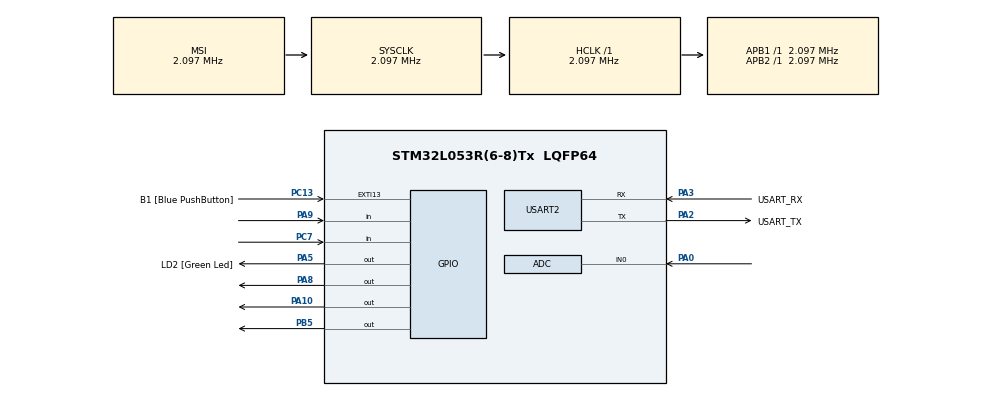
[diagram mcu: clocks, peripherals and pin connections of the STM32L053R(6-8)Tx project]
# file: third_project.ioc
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Mcu.Family=STM32L0
RCC.MSI_VALUE=2097000
PC15-OSC32_OUT.Mode=LSE-External-Oscillator
PH0-OSC_IN.Signal=RCC_OSC_IN
PC13.Signal=GPXTI13
PA14.GPIO_Label=TCK
PC13.GPIO_Label=B1 [Blue PushButton]
PC14-OSC32_IN.Signal=RCC_OSC32_IN
PA9.GPIO_PuPd=GPIO_PULLUP
ProjectManager.StackSize=0x400
PA3.Mode=Asynchronous
PA13.Signal=SYS_SWDIO
RCC.HSI16_VALUE=16000000
ProjectManager.TargetToolchain=STM32CubeIDE
RCC.APB2TimFreq_Value=2097000
PA9.Signal=GPIO_Input
PC7.Signal=GPIO_Input
PC7.GPIO_PuPd=GPIO_PULLUP
PC15-OSC32_OUT.Signal=RCC_OSC32_OUT
RCC.AHBFreq_Value=2097000
PH0-OSC_IN.Mode=HSE-External-Clock-Source
PA5.Signal=GPIO_Output
RCC.HSE_VALUE=8000000
board=NUCLEO-L053R8
USART2.VirtualMode-Asynchronous=VM_ASYNC
RCC.VCOOutputFreq_Value=48000000
RCC.APB2Freq_Value=2097000
PC14-OSC32_IN.Mode=LSE-External-Oscillator
PA14.Mode=Serial_Wire
PA0.Mode=IN0
PH1-OSC_OUT.Signal=RCC_OSC_OUT
PA8.Signal=GPIO_Output
PA13.Mode=Serial_Wire
Mcu.Name=STM32L053R(6-8)Tx
PA2.Signal=USART2_TX
PA13.GPIO_Label=TMS
PA0.Signal=ADC_IN0
RCC.SYSCLKFreq_VALUE=2097000
Mcu.Package=LQFP64
PB5.Signal=GPIO_Output
PA5.GPIO_Label=LD2 [Green Led]
PC13.GPIO_ModeDefaultEXTI=GPIO_MODE_IT_FALLING
PA2.GPIO_Label=USART_TX
PA10.Signal=GPIO_Output
PA14.Signal=SYS_SWCLK
ProjectManager.HeapSize=0x200
RCC.HSI_VALUE=16000000
RCC.APB1TimFreq_Value=2097000
PA2.Mode=Asynchronous
RCC.APB1Freq_Value=2097000
RCC.HSI48_VALUE=48000000
PA3.GPIO_Label=USART_RX
PA3.Signal=USART2_RX

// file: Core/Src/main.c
/* USER CODE BEGIN Header */
/**
  ******************************************************************************
  * @file           : main.c
  * @brief          : Main program body
  ******************************************************************************
  * @attention
  *
  * <h2><center>&copy; Copyright (c) 2021 STMicroelectronics.
  * All rights reserved.</center></h2>
  *
  * This software component is licensed by ST under BSD 3-Clause license,
  * the "License"; You may not use this file except in compliance with the
  * License. You may obtain a copy of the License at:
  *                        opensource.org/licenses/BSD-3-Clause
  *
  ******************************************************************************
  */
/* USER CODE END Header */
#include "main.h"

/* USER CODE BEGIN Includes */
#include <stdio.h>
#include <string.h>
/* USER CODE END Includes */

ADC_HandleTypeDef hadc;

UART_HandleTypeDef huart2;

void SystemClock_Config(void);
static void MX_GPIO_Init(void);
static void MX_USART2_UART_Init(void);
static void MX_ADC_Init(void);

int main(void)
{
  /* USER CODE BEGIN 1 */
	uint32_t adc_value;
	char msg[10];

  /* USER CODE END 1 */

  /* MCU Configuration--------------------------------------------------------*/

  /* Reset of all peripherals, Initializes the Flash interface and the Systick. */
  HAL_Init();

  /* Configure the system clock */
  SystemClock_Config();

  /* Initialize all configured peripherals */
  MX_GPIO_Init();
  MX_USART2_UART_Init();
  MX_ADC_Init();

  /* Infinite loop */
  /* USER CODE BEGIN WHILE */
  while (1)
  {

//	  HAL_GPIO_WritePin(GPIOA, GPIO_PIN_10, GPIO_PIN_SET);
//	  HAL_Delay (100);   /* Insert delay 1000 ms */
//	  HAL_GPIO_WritePin(GPIOA, GPIO_PIN_10, GPIO_PIN_RESET);
//	  HAL_Delay (300);   /* Insert delay 1000 ms */
//
//	  HAL_GPIO_WritePin(GPIOB, GPIO_PIN_5, GPIO_PIN_SET);
//	  HAL_Delay (100);   /* Insert delay 1000 ms */
//	  HAL_GPIO_WritePin(GPIOB, GPIO_PIN_5, GPIO_PIN_RESET);
//	  HAL_Delay (300);   /* Insert delay 1000 ms */
//
//	  HAL_GPIO_WritePin(GPIOA, GPIO_PIN_8, GPIO_PIN_SET);
//	  HAL_Delay (100);   /* Insert delay 1000 ms */
//	  HAL_GPIO_WritePin(GPIOA, GPIO_PIN_8, GPIO_PIN_RESET);
//	  HAL_Delay (300);   /* Insert delay 1000 ms */

	  GPIO_PinState button_1 = HAL_GPIO_ReadPin(GPIOA, GPIO_PIN_9);
	  GPIO_PinState button_2 = HAL_GPIO_ReadPin(GPIOC, GPIO_PIN_7);

	  HAL_GPIO_WritePin(GPIOA, GPIO_PIN_10, button_1);
	  HAL_GPIO_WritePin(GPIOB, GPIO_PIN_5, button_1);
	  //HAL_GPIO_WritePin(GPIOA, GPIO_PIN_8, button_2);

	  HAL_ADC_Start(&hadc);
	  HAL_ADC_PollForConversion(&hadc, HAL_MAX_DELAY);
	  adc_value = HAL_ADC_GetValue(&hadc);
	  float voltage = (float)adc_value / 4095.0 * 3.3;

	  if (voltage > 1.5){
		  HAL_GPIO_WritePin(GPIOA, GPIO_PIN_8, GPIO_PIN_SET);
	  }
	  else {
		  HAL_GPIO_WritePin(GPIOA, GPIO_PIN_8, GPIO_PIN_RESET);
	  }

	  sprintf(msg, "%hu\r\n", adc_value);
	  HAL_UART_Transmit(&huart2, (uint8_t*)msg, strlen(msg), HAL_MAX_DELAY);

	  HAL_Delay(1000);

    /* USER CODE END WHILE */

  }
}

void SystemClock_Config(void)
{
  RCC_OscInitTypeDef RCC_OscInitStruct = {0};
  RCC_ClkInitTypeDef RCC_ClkInitStruct = {0};
  RCC_PeriphCLKInitTypeDef PeriphClkInit = {0};

  /** Configure the main internal regulator output voltage
  */
  __HAL_PWR_VOLTAGESCALING_CONFIG(PWR_REGULATOR_VOLTAGE_SCALE1);
  /** Initializes the RCC Oscillators according to the specified parameters
  * in the RCC_OscInitTypeDef structure.
  */
  RCC_OscInitStruct.OscillatorType = RCC_OSCILLATORTYPE_MSI;
  RCC_OscInitStruct.MSIState = RCC_MSI_ON;
  RCC_OscInitStruct.MSICalibrationValue = 0;
  RCC_OscInitStruct.MSIClockRange = RCC_MSIRANGE_5;
  RCC_OscInitStruct.PLL.PLLState = RCC_PLL_NONE;
  if (HAL_RCC_OscConfig(&RCC_OscInitStruct) != HAL_OK)
  {
    Error_Handler();
  }
  /** Initializes the CPU, AHB and APB buses clocks
  */
  RCC_ClkInitStruct.ClockType = RCC_CLOCKTYPE_HCLK|RCC_CLOCKTYPE_SYSCLK
                              |RCC_CLOCKTYPE_PCLK1|RCC_CLOCKTYPE_PCLK2;
  RCC_ClkInitStruct.SYSCLKSource = RCC_SYSCLKSOURCE_MSI;
  RCC_ClkInitStruct.AHBCLKDivider = RCC_SYSCLK_DIV1;
  RCC_ClkInitStruct.APB1CLKDivider = RCC_HCLK_DIV1;
  RCC_ClkInitStruct.APB2CLKDivider = RCC_HCLK_DIV1;

  if (HAL_RCC_ClockConfig(&RCC_ClkInitStruct, FLASH_LATENCY_0) != HAL_OK)
  {
    Error_Handler();
  }
  PeriphClkInit.PeriphClockSelection = RCC_PERIPHCLK_USART2;
  PeriphClkInit.Usart2ClockSelection = RCC_USART2CLKSOURCE_PCLK1;
  if (HAL_RCCEx_PeriphCLKConfig(&PeriphClkInit) != HAL_OK)
  {
    Error_Handler();
  }
}

static void MX_ADC_Init(void)
{

  ADC_ChannelConfTypeDef sConfig = {0};

  /** Configure the global features of the ADC (Clock, Resolution, Data Alignment and number of conversion)
  */
  hadc.Instance = ADC1;
  hadc.Init.OversamplingMode = DISABLE;
  hadc.Init.ClockPrescaler = ADC_CLOCK_SYNC_PCLK_DIV1;
  hadc.Init.Resolution = ADC_RESOLUTION_12B;
  hadc.Init.SamplingTime = ADC_SAMPLETIME_1CYCLE_5;
  hadc.Init.ScanConvMode = ADC_SCAN_DIRECTION_FORWARD;
  hadc.Init.DataAlign = ADC_DATAALIGN_RIGHT;
  hadc.Init.ContinuousConvMode = DISABLE;
  hadc.Init.DiscontinuousConvMode = DISABLE;
  hadc.Init.ExternalTrigConvEdge = ADC_EXTERNALTRIGCONVEDGE_NONE;
  hadc.Init.ExternalTrigConv = ADC_SOFTWARE_START;
  hadc.Init.DMAContinuousRequests = DISABLE;
  hadc.Init.EOCSelection = ADC_EOC_SINGLE_CONV;
  hadc.Init.Overrun = ADC_OVR_DATA_PRESERVED;
  hadc.Init.LowPowerAutoWait = DISABLE;
  hadc.Init.LowPowerFrequencyMode = ENABLE;
  hadc.Init.LowPowerAutoPowerOff = DISABLE;
  if (HAL_ADC_Init(&hadc) != HAL_OK)
  {
    Error_Handler();
  }
  /** Configure for the selected ADC regular channel to be converted.
  */
  sConfig.Channel = ADC_CHANNEL_0;
  sConfig.Rank = ADC_RANK_CHANNEL_NUMBER;
  if (HAL_ADC_ConfigChannel(&hadc, &sConfig) != HAL_OK)
  {
    Error_Handler();
  }

}

static void MX_USART2_UART_Init(void)
{

  huart2.Instance = USART2;
  huart2.Init.BaudRate = 115200;
  huart2.Init.WordLength = UART_WORDLENGTH_8B;
  huart2.Init.StopBits = UART_STOPBITS_1;
  huart2.Init.Parity = UART_PARITY_NONE;
  huart2.Init.Mode = UART_MODE_TX_RX;
  huart2.Init.HwFlowCtl = UART_HWCONTROL_NONE;
  huart2.Init.OverSampling = UART_OVERSAMPLING_16;
  huart2.Init.OneBitSampling = UART_ONE_BIT_SAMPLE_DISABLE;
  huart2.AdvancedInit.AdvFeatureInit = UART_ADVFEATURE_NO_INIT;
  if (HAL_UART_Init(&huart2) != HAL_OK)
  {
    Error_Handler();
  }

}

static void MX_GPIO_Init(void)
{
  GPIO_InitTypeDef GPIO_InitStruct = {0};

  /* GPIO Ports Clock Enable */
  __HAL_RCC_GPIOC_CLK_ENABLE();
  __HAL_RCC_GPIOH_CLK_ENABLE();
  __HAL_RCC_GPIOA_CLK_ENABLE();
  __HAL_RCC_GPIOB_CLK_ENABLE();

  /*Configure GPIO pin Output Level */
  HAL_GPIO_WritePin(GPIOA, LD2_Pin|GPIO_PIN_8|GPIO_PIN_10, GPIO_PIN_RESET);

  /*Configure GPIO pin Output Level */
  HAL_GPIO_WritePin(GPIOB, GPIO_PIN_5, GPIO_PIN_RESET);

  /*Configure GPIO pin : B1_Pin */
  GPIO_InitStruct.Pin = B1_Pin;
  GPIO_InitStruct.Mode = GPIO_MODE_IT_FALLING;
  GPIO_InitStruct.Pull = GPIO_NOPULL;
  HAL_GPIO_Init(B1_GPIO_Port, &GPIO_InitStruct);

  /*Configure GPIO pins : LD2_Pin PA8 PA10 */
  GPIO_InitStruct.Pin = LD2_Pin|GPIO_PIN_8|GPIO_PIN_10;
  GPIO_InitStruct.Mode = GPIO_MODE_OUTPUT_PP;
  GPIO_InitStruct.Pull = GPIO_NOPULL;
  GPIO_InitStruct.Speed = GPIO_SPEED_FREQ_LOW;
  HAL_GPIO_Init(GPIOA, &GPIO_InitStruct);

  /*Configure GPIO pin : PC7 */
  GPIO_InitStruct.Pin = GPIO_PIN_7;
  GPIO_InitStruct.Mode = GPIO_MODE_INPUT;
  GPIO_InitStruct.Pull = GPIO_PULLUP;
  HAL_GPIO_Init(GPIOC, &GPIO_InitStruct);

  /*Configure GPIO pin : PA9 */
  GPIO_InitStruct.Pin = GPIO_PIN_9;
  GPIO_InitStruct.Mode = GPIO_MODE_INPUT;
  GPIO_InitStruct.Pull = GPIO_PULLUP;
  HAL_GPIO_Init(GPIOA, &GPIO_InitStruct);

  /*Configure GPIO pin : PB5 */
  GPIO_InitStruct.Pin = GPIO_PIN_5;
  GPIO_InitStruct.Mode = GPIO_MODE_OUTPUT_PP;
  GPIO_InitStruct.Pull = GPIO_NOPULL;
  GPIO_InitStruct.Speed = GPIO_SPEED_FREQ_LOW;
  HAL_GPIO_Init(GPIOB, &GPIO_InitStruct);

}

void Error_Handler(void)
{
  __disable_irq();
  while (1)
  {
  }
}

/************************ (C) COPYRIGHT STMicroelectronics *****END OF FILE****/
